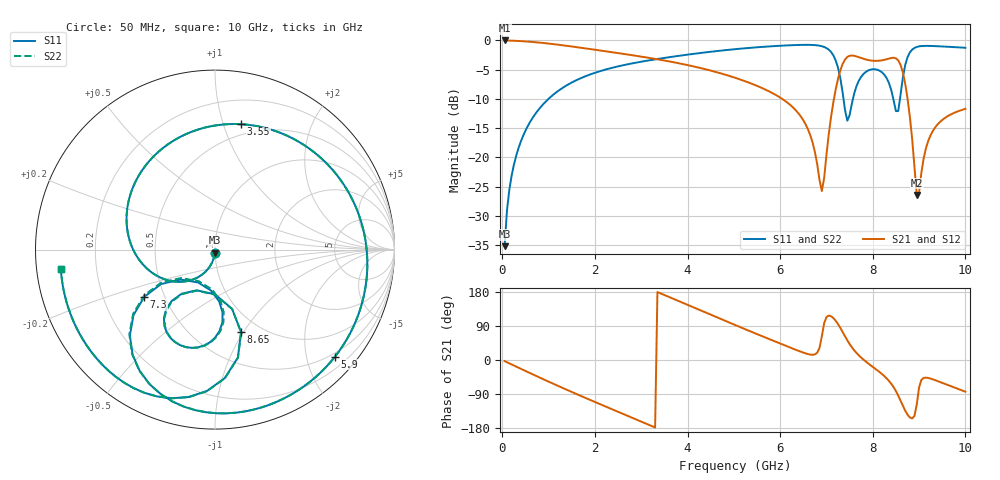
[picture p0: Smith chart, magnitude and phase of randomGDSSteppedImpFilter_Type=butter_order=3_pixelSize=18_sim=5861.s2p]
! freq	dB(S11)	phase(S11)	dB(S12)	phase(S12)
!  dB(S21)	phase(S21)	dB(S22)	phase(S22)
!S-par simulation data
#  GHz  S  DB  R 50
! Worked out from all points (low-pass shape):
!   200 points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, 50 MHz to 10 GHz, reference 50 ohm
!   highest |S21| = 0.00 dB at 50 MHz (marker M1); lowest = -26.4 dB at 8.95 GHz (marker M2)
!   |S21| within 3 dB of the highest: start of sweep to 3.186 GHz; 7.43 GHz to 7.748 GHz (317.8 MHz wide, 4.19 % of centre) (the widest 2 of 3)
!   lowest |S11| = -35.2 dB at 50 MHz (marker M3), VSWR 1.04, Z = 49.9 - j1.74 ohm
!   |S11| at or under -10 dB: start of sweep to 996.3 MHz; 7.368 GHz to 7.572 GHz (203.9 MHz wide, 2.73 % of centre); 8.443 GHz to 8.587 GHz (143.6 MHz wide, 1.69 % of centre)
!   |S22| runs from -35.2 to -0.8 dB; largest |S21 - S12| = 0
!   S11 on the Smith chart (normalised r, x): 50 MHz: 1.00, -0.03; 3.55 GHz: 0.40, +1.15; 5.9 GHz: 0.42, -2.56; 7.3 GHz: 0.39, -0.26; 8.65 GHz: 0.81, -0.98; 10 GHz: 0.07, -0.06
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0.05  -35.17 -92.8  -0.00 -2.9  -0.00 -2.9  -35.17 -92.8
0.2  -23.17 -102.0  -0.04 -11.7  -0.04 -11.7  -23.17 -102.0
0.5  -15.43 -119.5  -0.17 -28.9  -0.17 -28.9  -15.43 -119.5
1.1  -9.28 -153.3  -0.63 -62.6  -0.63 -62.6  -9.28 -153.3
1.75  -6.27 171.7  -1.31 -97.6  -1.31 -97.6  -6.27 171.7
2.6  -4.26 127.4  -2.28 -141.9  -2.28 -141.9  -4.26 127.4
3.4  -3.11 86.0  -3.29 176.7  -3.29 176.7  -3.11 86.0
3.55  -2.93 78.2  -3.50 168.9  -3.50 168.9  -2.93 78.2
5.05  -1.48 0.9  -6.44 91.1  -6.44 91.1  -1.48 0.9
5.9  -0.95 -41.7  -9.29 48.4  -9.29 48.4  -0.95 -41.7
6.7  -0.78 -86.0  -17.44 13.7  -17.44 13.7  -0.78 -86.1
6.9  -0.99 -101.1  -25.75 62.4  -25.75 62.4  -1.00 -101.4
7.3  -6.49 -146.3  -5.10 84.5  -5.10 84.5  -6.56 -147.1
7.45  -13.72 -117.5  -2.83 52.0  -2.83 52.0  -14.07 -117.3
7.65  -7.78 -84.3  -2.74 18.4  -2.74 18.4  -7.82 -83.4
8  -4.93 -106.8  -3.47 -18.2  -3.47 -18.2  -4.93 -106.4
8.35  -7.29 -129.2  -3.10 -55.2  -3.10 -55.2  -7.29 -128.8
8.55  -12.07 -90.0  -3.41 -94.1  -3.41 -94.1  -12.00 -89.8
8.65  -6.33 -72.5  -5.48 -120.9  -5.48 -120.9  -6.31 -72.5
8.95  -1.11 -111.6  -26.41 -117.5  -26.41 -117.5  -1.11 -111.5
9.3  -0.95 -137.5  -15.44 -51.1  -15.44 -51.1  -0.95 -137.4
10  -1.25 -172.8  -11.69 -83.7  -11.69 -83.7  -1.25 -172.7
